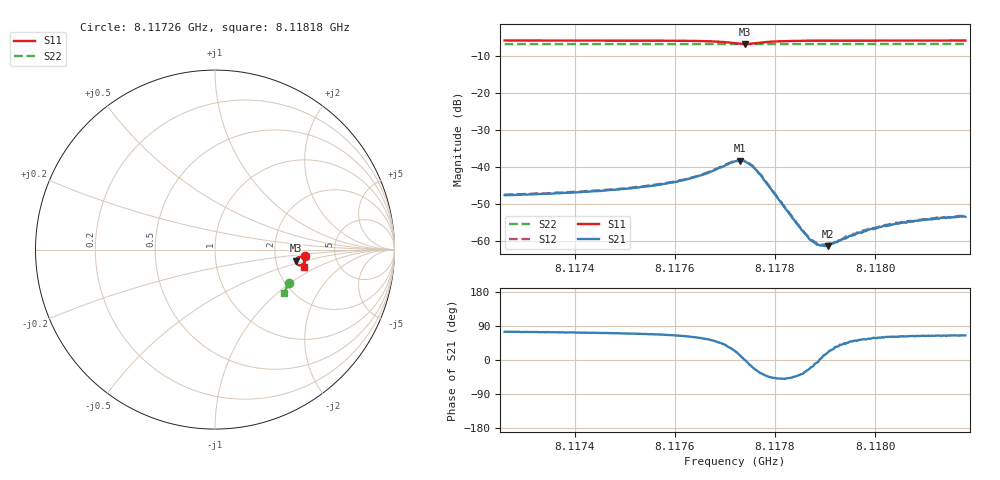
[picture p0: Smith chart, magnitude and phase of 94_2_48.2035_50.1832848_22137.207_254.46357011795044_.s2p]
#  HZ  S  RI  R  50.00
! Rohde & Schwarz Vector Network Analyzer
! Rohde-Schwarz,ZNB20-2Port,1311601062101988,3.16
! Created: UTC 3/20/2024, 11:40:13 AM
! freq[Hz]  re:S11  im:S11  re:S21  im:S21  re:S12  im:S12  re:S22  im:S22
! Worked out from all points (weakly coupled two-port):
!   401 points, 8.11726 GHz to 8.11818 GHz, reference 50 ohm
!   highest |S21| = -38.34 dB at 8.11773 GHz (marker M1); lowest = -61.4 dB at 8.117907 GHz (marker M2)
!   lowest |S11| = -6.9 dB at 8.117741 GHz (marker M3), VSWR 2.66, Z = 129 - j19.8 ohm
!   |S11| at or under -10 dB: nowhere
!   |S22| runs from -6.9 to -6.9 dB; largest |S21 - S12| = 0.00042
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8.1172603e9  0.5042 -0.0376  0.00112 0.00399  0.00114 0.00409  0.4109 -0.1867
8.1174144e9  0.5024 -0.051  0.00142 0.00434  0.00146 0.00442  0.4067 -0.1967
8.117488e9  0.5011 -0.0581  0.00163 0.00466  0.00168 0.00472  0.4047 -0.2014
8.1175685e9  0.4985 -0.0672  0.00217 0.00528  0.00231 0.00534  0.4021 -0.2066
8.1176467e9  0.4911 -0.0792  0.00384 0.00639  0.00397 0.00646  0.3995 -0.2117
8.1177204e9  0.4571 -0.0817  0.0109 0.00472  0.011 0.00468  0.3957 -0.2158
8.1177296e9  0.4514 -0.0741  0.0118 0.00271  0.012 0.00265  0.3953 -0.216
8.1177411e9  0.4493 -0.0609  0.0117 -0.000229  0.0119 -0.000459  0.3952 -0.2161
8.1177526e9  0.455 -0.0486  0.0101 -0.00273  0.0102 -0.0031  0.3952 -0.2163
8.1177687e9  0.4689 -0.0409  0.00683 -0.00432  0.00684 -0.00438  0.3954 -0.2169
8.1178492e9  0.4964 -0.0584  0.00119 -0.000968  0.00119 -0.000988  0.3941 -0.2228
8.1178745e9  0.4976 -0.0631  0.000947 -0.000306  0.000956 -0.000322  0.3932 -0.2246
8.1178883e9  0.498 -0.0654  0.000879 -2e-05  0.000903 -1.59e-05  0.3928 -0.2254
8.1179021e9  0.4983 -0.0674  0.000822 0.000237  0.000875 0.000249  0.3924 -0.2265
8.1179067e9  0.4983 -0.0682  0.000792 0.000307  0.000827 0.000308  0.3923 -0.2268
8.1179205e9  0.4984 -0.0701  0.00078 0.000539  0.000833 0.000495  0.3918 -0.2278
8.1179435e9  0.4983 -0.073  0.00078 0.000791  0.000784 0.000792  0.391 -0.2291
8.1179665e9  0.4984 -0.0757  0.000778 0.00101  0.000789 0.001  0.3902 -0.2306
8.1179895e9  0.4983 -0.0781  0.000795 0.00119  0.00081 0.00118  0.3895 -0.2321
8.1180286e9  0.4979 -0.0822  0.000778 0.00141  0.000841 0.00146  0.3881 -0.2346
8.1180999e9  0.497 -0.0889  0.000853 0.00172  0.000863 0.00175  0.3857 -0.239
8.1181804e9  0.4957 -0.0957  0.000894 0.00191  0.000948 0.00197  0.383 -0.2438
